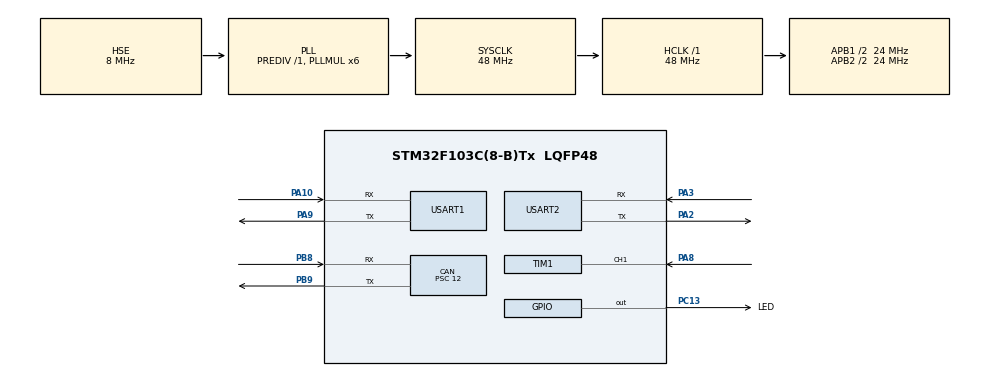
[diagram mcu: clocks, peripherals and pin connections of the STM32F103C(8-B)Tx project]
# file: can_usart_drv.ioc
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CAN.BS1=CAN_BS1_2TQ
CAN.CalculateTimeBit=2000
CAN.CalculateTimeQuantum=500.0
CAN.NART=ENABLE
CAN.Prescaler=12
FREERTOS.Tasks01=defaultTask,0,128,StartDefaultTask,Default,NULL,Dynamic,NULL,NULL;myTask02,0,128,StartTask02,Default,NULL,Dynamic,NULL,NULL;myTask03,0,128,StartTask03,Default,NULL,Dynamic,NULL,NULL
Mcu.Family=STM32F1
Mcu.Name=STM32F103C(8-B)Tx
Mcu.Package=LQFP48
NVIC.PriorityGroup=NVIC_PRIORITYGROUP_4
NVIC.TIM4_IRQn=true\:0\:0\:false\:false\:true\:false\:false\:true
NVIC.TimeBase=TIM4_IRQn
NVIC.TimeBaseIP=TIM4
PA10.Mode=Asynchronous
PA10.Signal=USART1_RX
PA13.Mode=Serial_Wire
PA13.Signal=SYS_JTMS-SWDIO
PA14.Mode=Serial_Wire
PA14.Signal=SYS_JTCK-SWCLK
PA2.Mode=Asynchronous
PA2.Signal=USART2_TX
PA3.Mode=Asynchronous
PA3.Signal=USART2_RX
PA8.Signal=S_TIM1_CH1
PA9.Mode=Asynchronous
PA9.Signal=USART1_TX
PB8.Mode=Master
PB8.Signal=CAN_RX
PB9.Mode=Master
PB9.Signal=CAN_TX
PC13-TAMPER-RTC.GPIO_Label=LED
PC13-TAMPER-RTC.Signal=GPIO_Output
PD0-OSC_IN.Mode=HSE-External-Oscillator
PD0-OSC_IN.Signal=RCC_OSC_IN
PD1-OSC_OUT.Mode=HSE-External-Oscillator
PD1-OSC_OUT.Signal=RCC_OSC_OUT
ProjectManager.HeapSize=0x200
ProjectManager.StackSize=0x400
ProjectManager.TargetToolchain=TrueSTUDIO
RCC.AHBFreq_Value=48000000
RCC.APB1CLKDivider=RCC_HCLK_DIV2
RCC.APB1Freq_Value=24000000
RCC.APB1TimFreq_Value=48000000
RCC.APB2CLKDivider=RCC_HCLK_DIV2
RCC.APB2Freq_Value=24000000
RCC.APB2TimFreq_Value=48000000
RCC.HCLKFreq_Value=48000000
RCC.PLLMUL=RCC_PLL_MUL6
RCC.PLLSourceVirtual=RCC_PLLSOURCE_HSE
RCC.SYSCLKFreq_VALUE=48000000
RCC.SYSCLKSource=RCC_SYSCLKSOURCE_PLLCLK
RCC.USBFreq_Value=48000000
SH.S_TIM1_CH1.0=TIM1_CH1,TriggerSource_TI1ED
USART1.VirtualMode=VM_ASYNC
USART2.VirtualMode=VM_ASYNC
VP_FREERTOS_VS_CMSIS_V1.Mode=CMSIS_V1
VP_SYS_VS_tim4.Mode=TIM4
VP_TIM1_VS_ControllerModeClock.Mode=Clock Mode
board=custom

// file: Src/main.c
/* USER CODE BEGIN Header */
/**
  ******************************************************************************
  * @file           : main.c
  * @brief          : Main program body
  ******************************************************************************
  * @attention
  *
  * <h2><center>&copy; Copyright (c) 2020 STMicroelectronics.
  * All rights reserved.</center></h2>
  *
  * This software component is licensed by ST under Ultimate Liberty license
  * SLA0044, the "License"; You may not use this file except in compliance with
  * the License. You may obtain a copy of the License at:
  *                             www.st.com/SLA0044
  *
  ******************************************************************************
  */
/* USER CODE END Header */
#include "main.h"
#include "cmsis_os.h"
#include "can.h"
#include "tim.h"
#include "usart.h"
#include "gpio.h"

/* USER CODE BEGIN Includes */

#include "minidrv.h"

/* USER CODE END Includes */

/* USER CODE BEGIN PV */

/* Private variables ---------------------------------------------------------*/

/* USER CODE END PV */

void SystemClock_Config(void);
void MX_FREERTOS_Init(void);
/* USER CODE BEGIN PFP */
/* Private function prototypes -----------------------------------------------*/

/* USER CODE END PFP */

int main(void)
{

  /* MCU Configuration--------------------------------------------------------*/

  /* Reset of all peripherals, Initializes the Flash interface and the Systick. */
  HAL_Init();

  /* Configure the system clock */
  SystemClock_Config();

  /* Initialize all configured peripherals */
  MX_GPIO_Init();
  MX_CAN_Init();
  MX_TIM1_Init();
  MX_USART2_UART_Init();
  MX_USART1_UART_Init();
  /* USER CODE BEGIN 2 */

  /* Initializing the mini driver */
  MiniDrv_Init();

  /* USER CODE END 2 */

  /* Call init function for freertos objects (in freertos.c) */
  MX_FREERTOS_Init();
  /* Start scheduler */
  osKernelStart();

  /* We should never get here as control is now taken by the scheduler */
  /* Infinite loop */
  while (1)
  {

  }
}

void SystemClock_Config(void)
{
  RCC_OscInitTypeDef RCC_OscInitStruct = {0};
  RCC_ClkInitTypeDef RCC_ClkInitStruct = {0};

  /** Initializes the RCC Oscillators according to the specified parameters
  * in the RCC_OscInitTypeDef structure.
  */
  RCC_OscInitStruct.OscillatorType = RCC_OSCILLATORTYPE_HSE;
  RCC_OscInitStruct.HSEState = RCC_HSE_ON;
  RCC_OscInitStruct.HSEPredivValue = RCC_HSE_PREDIV_DIV1;
  RCC_OscInitStruct.HSIState = RCC_HSI_ON;
  RCC_OscInitStruct.PLL.PLLState = RCC_PLL_ON;
  RCC_OscInitStruct.PLL.PLLSource = RCC_PLLSOURCE_HSE;
  RCC_OscInitStruct.PLL.PLLMUL = RCC_PLL_MUL6;
  if (HAL_RCC_OscConfig(&RCC_OscInitStruct) != HAL_OK)
  {
    Error_Handler();
  }
  /** Initializes the CPU, AHB and APB buses clocks
  */
  RCC_ClkInitStruct.ClockType = RCC_CLOCKTYPE_HCLK|RCC_CLOCKTYPE_SYSCLK
                              |RCC_CLOCKTYPE_PCLK1|RCC_CLOCKTYPE_PCLK2;
  RCC_ClkInitStruct.SYSCLKSource = RCC_SYSCLKSOURCE_PLLCLK;
  RCC_ClkInitStruct.AHBCLKDivider = RCC_SYSCLK_DIV1;
  RCC_ClkInitStruct.APB1CLKDivider = RCC_HCLK_DIV2;
  RCC_ClkInitStruct.APB2CLKDivider = RCC_HCLK_DIV2;

  if (HAL_RCC_ClockConfig(&RCC_ClkInitStruct, FLASH_LATENCY_1) != HAL_OK)
  {
    Error_Handler();
  }
}

void HAL_TIM_PeriodElapsedCallback(TIM_HandleTypeDef *htim)
{
  if (htim->Instance == TIM4) {
    HAL_IncTick();
  }
}

void Error_Handler(void)
{
  while(1)
  {
  }
}

/************************ (C) COPYRIGHT STMicroelectronics *****END OF FILE****/

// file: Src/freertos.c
/* USER CODE BEGIN Header */
/**
  ******************************************************************************
  * File Name          : freertos.c
  * Description        : Code for freertos applications
  ******************************************************************************
  * This notice applies to any and all portions of this file
  * that are not between comment pairs USER CODE BEGIN and
  * USER CODE END. Other portions of this file, whether
  * inserted by the user or by software development tools
  * are owned by their respective copyright owners.
  *
  * Copyright (c) 2020 STMicroelectronics International N.V.
  * All rights reserved.
  *
  * Redistribution and use in source and binary forms, with or without
  * modification, are permitted, provided that the following conditions are met:
  *
  * 1. Redistribution of source code must retain the above copyright notice,
  *    this list of conditions and the following disclaimer.
  * 2. Redistributions in binary form must reproduce the above copyright notice,
  *    this list of conditions and the following disclaimer in the documentation
  *    and/or other materials provided with the distribution.
  * 3. Neither the name of STMicroelectronics nor the names of other
  *    contributors to this software may be used to endorse or promote products
  *    derived from this software without specific written permission.
  * 4. This software, including modifications and/or derivative works of this
  *    software, must execute solely and exclusively on microcontroller or
  *    microprocessor devices manufactured by or for STMicroelectronics.
  * 5. Redistribution and use of this software other than as permitted under
  *    this license is void and will automatically terminate your rights under
  *    this license.
  *
  * THIS SOFTWARE IS PROVIDED BY STMICROELECTRONICS AND CONTRIBUTORS "AS IS"
  * AND ANY EXPRESS, IMPLIED OR STATUTORY WARRANTIES, INCLUDING, BUT NOT
  * LIMITED TO, THE IMPLIED WARRANTIES OF MERCHANTABILITY, FITNESS FOR A
  * PARTICULAR PURPOSE AND NON-INFRINGEMENT OF THIRD PARTY INTELLECTUAL PROPERTY
  * RIGHTS ARE DISCLAIMED TO THE FULLEST EXTENT PERMITTED BY LAW. IN NO EVENT
  * SHALL STMICROELECTRONICS OR CONTRIBUTORS BE LIABLE FOR ANY DIRECT, INDIRECT,
  * INCIDENTAL, SPECIAL, EXEMPLARY, OR CONSEQUENTIAL DAMAGES (INCLUDING, BUT NOT
  * LIMITED TO, PROCUREMENT OF SUBSTITUTE GOODS OR SERVICES; LOSS OF USE, DATA,
  * OR PROFITS; OR BUSINESS INTERRUPTION) HOWEVER CAUSED AND ON ANY THEORY OF
  * LIABILITY, WHETHER IN CONTRACT, STRICT LIABILITY, OR TORT (INCLUDING
  * NEGLIGENCE OR OTHERWISE) ARISING IN ANY WAY OUT OF THE USE OF THIS SOFTWARE,
  * EVEN IF ADVISED OF THE POSSIBILITY OF SUCH DAMAGE.
  *
  ******************************************************************************
  */
/* USER CODE END Header */

#include "FreeRTOS.h"
#include "task.h"
#include "main.h"
#include "cmsis_os.h"

/* USER CODE BEGIN Includes */

#include "minidrv.h"

/* USER CODE END Includes */

/* USER CODE BEGIN PM */

/* To work with RECEIVER   -> uncomment the string: "#define RECEIVER;"
 * To work with TRANSMITER -> comment the string:   "#define RECEIVER;"       */
//#define RECEIVER

/* USER CODE END PM */

/* USER CODE BEGIN Variables */

#ifndef RECEIVER

/* Declaring data array */
uint8_t dataArray[] = { 0xff, 0xfe, 0xfd, 0xfc, 0xfb, 0xfa, 0x7e, 0x7d, 0x5e, 0x55, 0x00 };

#endif

/* USER CODE END Variables */
osThreadId defaultTaskHandle;
osThreadId myTask02Handle;
osThreadId myTask03Handle;

void StartDefaultTask(void const * argument);
void StartTask02(void const * argument);
void StartTask03(void const * argument);

void MX_FREERTOS_Init(void); /* (MISRA C 2004 rule 8.1) */

/* GetIdleTaskMemory prototype (linked to static allocation support) */
void vApplicationGetIdleTaskMemory( StaticTask_t **ppxIdleTaskTCBBuffer, StackType_t **ppxIdleTaskStackBuffer, uint32_t *pulIdleTaskStackSize );

/* USER CODE BEGIN GET_IDLE_TASK_MEMORY */
static StaticTask_t xIdleTaskTCBBuffer;
static StackType_t xIdleStack[configMINIMAL_STACK_SIZE];

void vApplicationGetIdleTaskMemory( StaticTask_t **ppxIdleTaskTCBBuffer, StackType_t **ppxIdleTaskStackBuffer, uint32_t *pulIdleTaskStackSize )
{
  *ppxIdleTaskTCBBuffer = &xIdleTaskTCBBuffer;
  *ppxIdleTaskStackBuffer = &xIdleStack[0];
  *pulIdleTaskStackSize = configMINIMAL_STACK_SIZE;
  /* place for user code */
}
/* USER CODE END GET_IDLE_TASK_MEMORY */

void MX_FREERTOS_Init(void) {

  /* Create the thread(s) */
  /* definition and creation of defaultTask */
  osThreadDef(defaultTask, StartDefaultTask, osPriorityNormal, 0, 128);
  defaultTaskHandle = osThreadCreate(osThread(defaultTask), NULL);

  /* definition and creation of myTask02 */
  osThreadDef(myTask02, StartTask02, osPriorityNormal, 0, 128);
  myTask02Handle = osThreadCreate(osThread(myTask02), NULL);

  /* definition and creation of myTask03 */
  osThreadDef(myTask03, StartTask03, osPriorityNormal, 0, 128);
  myTask03Handle = osThreadCreate(osThread(myTask03), NULL);

}

void StartDefaultTask(void const * argument)
{
  /* USER CODE BEGIN StartDefaultTask */
  /* Infinite loop */
  for(;;)
  {

	/* Indication of activity of the devboard */
	HAL_GPIO_TogglePin(LED_GPIO_Port, LED_Pin);
    osDelay(1000);

  }
  /* USER CODE END StartDefaultTask */
}

void StartTask02(void const * argument)
{
  /* USER CODE BEGIN StartTask02 */
  /* Infinite loop */
  for(;;)
  {

	/* Sending data to channel (transmitter) */
#ifndef RECEIVER
//	for (uint8_t i = 0; i < sizeof(dataArray) - 1; i++)
//	{
//		dataArray[i] = dataArray[i] + 1;
//	}
    MiniDrv_Send(dataArray, sizeof(dataArray));
#endif
	osDelay(200);

  }
  /* USER CODE END StartTask02 */
}

void StartTask03(void const * argument)
{
  /* USER CODE BEGIN StartTask03 */
  /* Infinite loop */
  for(;;)
  {

	/* Receiving data from channel (receiver) */
#ifdef RECEIVER
	MiniDrv_Receive();
#endif
	osDelay(1000);

  }
  /* USER CODE END StartTask03 */
}

/************************ (C) COPYRIGHT STMicroelectronics *****END OF FILE****/
